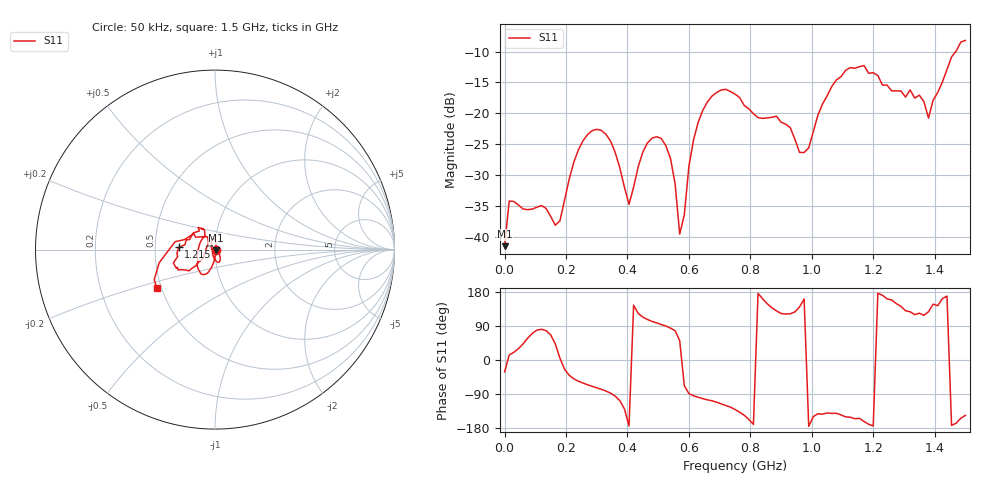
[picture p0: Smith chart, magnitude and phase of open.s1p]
! Created with skrf 1.8.0 (http://scikit-rf.org).
# Hz S RI R 50.0
!freq ReS11 ImS11
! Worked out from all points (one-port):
!   101 points, 50 kHz to 1.5 GHz, reference 50 ohm
!   lowest |S11| = -41.5 dB at 50 kHz (marker M1), VSWR 1.02, Z = 50.7 - j0.443 ohm
!   |S11| at or under -10 dB: start of sweep to 1.469 GHz
!   S11 on the Smith chart (normalised r, x): 50 kHz: 1.01, -0.01; 1.215 GHz: 0.66, +0.02; 1.5 GHz: 0.47, -0.24
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50000  0.00715 -0.00437
1.50495e7  0.019 0.00446
1.20046e8  0.00278 0.0177
1.650445e8  0.00915 0.00836
1.950435e8  0.018 -0.00804
2.40042e8  0.0283 -0.0417
2.850405e8  0.0254 -0.0678
3.30039e8  0.0095 -0.0668
3.750375e8  -0.0107 -0.0346
4.050365e8  -0.0182 -0.00181
4.50035e8  -0.019 0.0446
5.10033e8  -0.00368 0.0624
5.40032e8  0.00447 0.0428
5.550315e8  0.00582 0.0263
5.70031e8  0.00659 0.00816
5.850305e8  0.00567 -0.0139
6.150295e8  -0.00474 -0.0606
6.450285e8  -0.0219 -0.1034
7.50025e8  -0.0931 -0.1089
9.450185e8  -0.037 0.0493
9.90017e8  -0.0523 -0.00444
1.035016e9  -0.095 -0.0717
1.125012e9  -0.205 -0.1141
1.21501e9  -0.2021 0.0128
1.320006e9  -0.0937 0.1231
1.380004e9  -0.0557 0.0726
1.440002e9  -0.2221 0.0443
1.5e9  -0.3237 -0.2167
